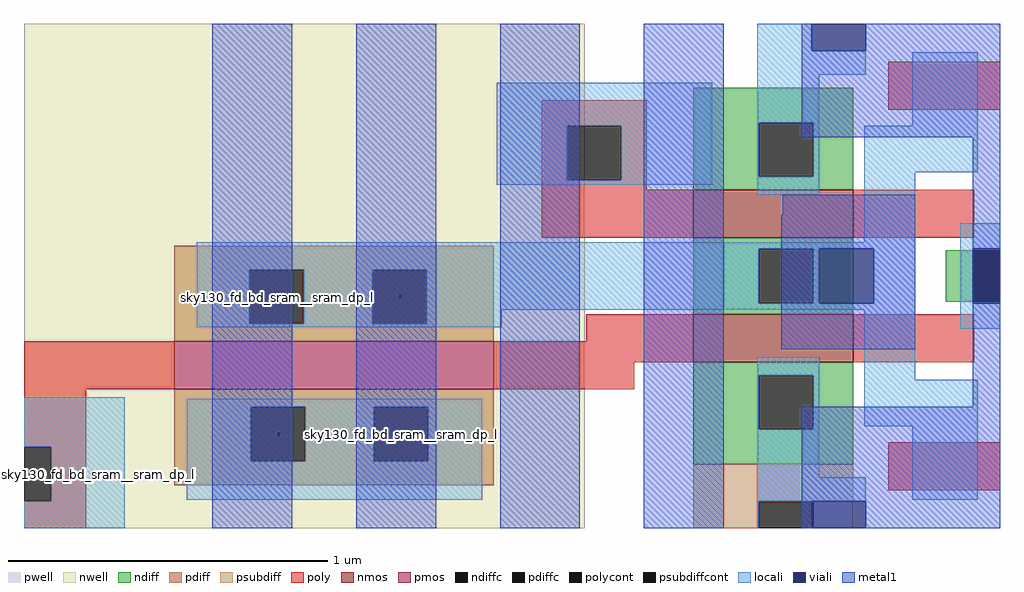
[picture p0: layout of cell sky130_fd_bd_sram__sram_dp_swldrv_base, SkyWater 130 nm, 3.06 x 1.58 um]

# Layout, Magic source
magic
tech sky130A
magscale 1 2
<< nwell >>
rect -611 0 -260 316
<< pwell >>
rect -192 0 -92 40
<< nmos >>
rect -192 182 -92 212
rect -192 104 -92 134
<< pmos >>
rect -517 87 -317 117
<< ndiff >>
rect -192 254 -92 276
rect -192 220 -151 254
rect -117 220 -92 254
rect -192 212 -92 220
rect -192 175 -92 182
rect -192 141 -151 175
rect -117 141 -92 175
rect -34 142 -17 174
rect -192 134 -92 141
rect -192 96 -92 104
rect -192 62 -151 96
rect -117 62 -92 96
rect -192 40 -92 62
<< pdiff >>
rect -517 162 -317 177
rect -517 128 -470 162
rect -436 128 -393 162
rect -359 128 -317 162
rect -517 117 -317 128
rect -517 76 -317 87
rect -517 42 -469 76
rect -435 42 -392 76
rect -358 42 -317 76
rect -517 27 -317 42
<< ndiffc >>
rect -151 220 -117 254
rect -151 141 -117 175
rect -17 142 0 174
rect -151 62 -117 96
<< pdiffc >>
rect -470 128 -436 162
rect -393 128 -359 162
rect -469 42 -435 76
rect -392 42 -358 76
<< psubdiff >>
rect -192 17 -92 40
rect -192 0 -151 17
rect -117 0 -92 17
<< psubdiffcont >>
rect -151 0 -117 17
<< poly >>
rect -287 252 -221 268
rect -287 218 -271 252
rect -237 218 -221 252
rect -287 212 -221 218
rect -70 262 0 292
rect -287 182 -192 212
rect -92 182 -16 212
rect -259 117 -192 134
rect -611 87 -517 117
rect -317 104 -192 117
rect -92 104 -16 134
rect -317 87 -229 104
rect -611 51 -572 87
rect -594 17 -572 51
rect -611 0 -572 17
rect -70 24 0 54
<< polycont >>
rect -271 218 -237 252
rect -611 17 -594 51
<< locali >>
rect -152 299 -118 316
rect -152 284 -84 299
rect -315 252 -180 279
rect -315 218 -271 252
rect -237 218 -180 252
rect -315 215 -180 218
rect -152 254 -113 284
rect -152 220 -151 254
rect -117 220 -113 254
rect -55 252 -14 298
rect -152 209 -113 220
rect -85 223 -14 252
rect -85 179 -53 223
rect -503 175 -53 179
rect -503 162 -151 175
rect -503 128 -470 162
rect -436 128 -393 162
rect -359 141 -151 162
rect -117 141 -113 175
rect -79 141 -53 175
rect -359 137 -53 141
rect -359 128 -312 137
rect -503 126 -312 128
rect -152 96 -113 107
rect -611 51 -548 82
rect -594 17 -548 51
rect -509 76 -324 81
rect -509 42 -469 76
rect -435 42 -392 76
rect -358 42 -324 76
rect -509 18 -324 42
rect -152 62 -151 96
rect -117 62 -113 96
rect -85 93 -53 137
rect -25 175 0 191
rect -25 141 -17 175
rect -25 125 0 141
rect -85 64 -14 93
rect -152 32 -113 62
rect -611 0 -548 17
rect -152 17 -84 32
rect -55 18 -14 64
rect -152 0 -151 17
<< viali >>
rect -118 299 -84 316
rect -113 141 -79 175
rect -17 174 0 175
rect -17 142 0 174
rect -17 141 0 142
rect -118 0 -117 17
rect -117 0 -84 17
<< metal1 >>
rect -493 0 -443 316
rect -403 0 -353 316
rect -313 0 -263 316
rect -223 0 -173 316
rect -124 299 -118 316
rect -84 299 0 316
rect -124 245 0 299
rect -136 196 -53 209
rect -137 175 -53 196
rect -137 141 -113 175
rect -79 141 -53 175
rect -137 112 -53 141
rect -17 175 0 245
rect -17 76 0 141
rect -124 17 0 76
rect -124 0 -118 17
rect -84 0 0 17
use sky130_fd_bd_sram__sram_dp_licon_05  sky130_fd_bd_sram__sram_dp_licon_05_0
transform 0 1 -611 -1 0 34
box 0 0 1 1
use sky130_fd_bd_sram__sram_dp_licon_1  sky130_fd_bd_sram__sram_dp_licon_1_0
transform 1 0 -453 0 1 145
box 0 -1 1 1
use sky130_fd_bd_sram__sram_dp_licon_1  sky130_fd_bd_sram__sram_dp_licon_1_1
transform 1 0 -376 0 1 145
box 0 -1 1 1
use sky130_fd_bd_sram__sram_dp_licon_1  sky130_fd_bd_sram__sram_dp_licon_1_2
transform 1 0 -375 0 1 59
box 0 -1 1 1
use sky130_fd_bd_sram__sram_dp_licon_1  sky130_fd_bd_sram__sram_dp_licon_1_3
transform 1 0 -452 0 1 59
box 0 -1 1 1
<< properties >>
string GDS_FILE sky130_fd_bd_sram__sram_dp_swldrv_base.gds
string GDS_END 4588
string GDS_START 498
<< end >>

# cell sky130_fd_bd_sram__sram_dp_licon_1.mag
magic
tech sky130A
magscale 1 2
use sky130_fd_bd_sram__sram_dp_licon_05  sky130_fd_bd_sram__sram_dp_licon_05_0
transform 1 0 0 0 -1 0
box 0 0 1 1
use sky130_fd_bd_sram__sram_dp_licon_05  sky130_fd_bd_sram__sram_dp_licon_05_1
transform 1 0 0 0 1 0
box 0 0 1 1
<< properties >>
string GDS_FILE sky130_fd_bd_sram__sram_dp_licon_1.gds
string GDS_END 424
string GDS_START 294
<< end >>
